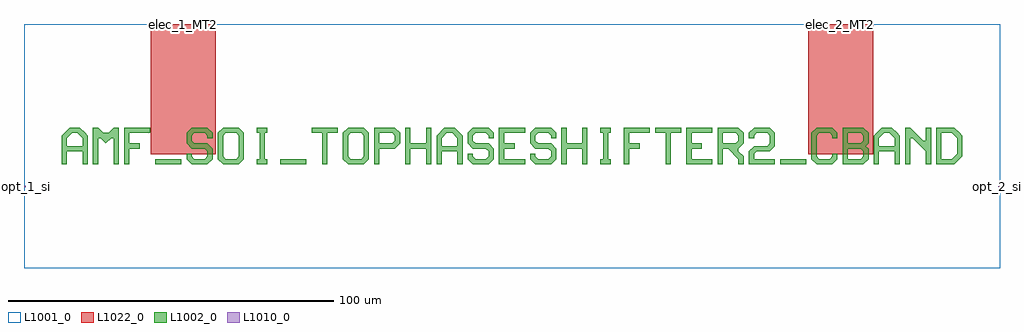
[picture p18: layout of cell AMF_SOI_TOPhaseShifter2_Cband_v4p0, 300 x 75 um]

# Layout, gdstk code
import gdstk
lib = gdstk.Library(unit=1e-6, precision=1e-09)
def R(c, l, rs):  # rectangles x0, y0, x1, y1
    for r in rs: c.add(gdstk.rectangle(r[:2], r[2:], *l))
def P(c, l, *ps):  # polygons
    for p in ps: c.add(gdstk.Polygon(p, *l))
L1001_0 = (1001, 0)
L1002_0 = (1002, 0)
L1010_0 = (1010, 0)
L1022_0 = (1022, 0)

amf_soi_tophaseshifter2_ = lib.new_cell('AMF_SOI_TOPhaseShifter2_Cband_v4p0')
R(amf_soi_tophaseshifter2_, L1001_0, [(0,-25,300,50)])
R(amf_soi_tophaseshifter2_, L1002_0, [(40.4,6.9,48.4,8.5), (78.8,6.9,86.8,8.5), (232.4,6.9,240.4,8.5)])
P(amf_soi_tophaseshifter2_, L1002_0, [(11.6,6.9),(11.6,15.7),(14,18.1),(17.2,18.1),(18.8,16.5),(14.8,16.5),(13.2,14.9),(13.2,12.5),(18,12.5),(18,14.9),(16.4,16.5),(18.8,16.5),(19.6,15.7),(19.6,6.9),(18,6.9),(18,10.9),(13.2,10.9),(13.2,6.9)],
  [(21.2,6.9),(21.2,18.1),(22.8,18.1),(24.4,16.5),(26,16.5),(27.6,18.1),(29.2,18.1),(29.2,6.9),(27.6,6.9),(27.6,14.9),(26.8,14.9),(25.2,13.3),(23.6,14.9),(22.8,14.9),(22.8,6.9)],
  [(30.8,6.9),(30.8,18.1),(38.8,18.1),(38.8,16.5),(32.4,16.5),(32.4,13.3),(35.6,13.3),(35.6,11.7),(32.4,11.7),(32.4,6.9)],
  [(51.6,6.9),(50,8.5),(50,10.1),(51.6,10.1),(51.6,9.3),(52.4,8.5),(55.6,8.5),(56.4,9.3),(56.4,10.9),(55.6,11.7),(51.6,11.7),(50,13.3),(50,16.5),(51.6,18.1),(56.4,18.1),(58,16.5),(58,14.9),(56.4,14.9),(56.4,15.7),(55.6,16.5),(52.4,16.5),(51.6,15.7),(51.6,14.1),(52.4,13.3),(56.4,13.3),(58,11.7),(58,8.5),(56.4,6.9)],
  [(61.2,6.9),(59.6,8.5),(59.6,16.5),(61.2,18.1),(66,18.1),(67.6,16.5),(67.6,12.5),(66,12.5),(66,15.7),(65.2,16.5),(62,16.5),(61.2,15.7),(61.2,9.3),(62,8.5),(65.2,8.5),(66,9.3),(66,12.5),(67.6,12.5),(67.6,8.5),(66,6.9)],
  [(71.6,6.9),(71.6,8.5),(72.4,8.5),(72.4,16.5),(71.6,16.5),(71.6,18.1),(74.8,18.1),(74.8,16.5),(74,16.5),(74,8.5),(74.8,8.5),(74.8,6.9)],
  [(91.6,6.9),(91.6,16.5),(88.4,16.5),(88.4,18.1),(96.4,18.1),(96.4,16.5),(93.2,16.5),(93.2,6.9)],
  [(99.6,6.9),(98,8.5),(98,16.5),(99.6,18.1),(104.4,18.1),(106,16.5),(106,12.5),(104.4,12.5),(104.4,15.7),(103.6,16.5),(100.4,16.5),(99.6,15.7),(99.6,9.3),(100.4,8.5),(103.6,8.5),(104.4,9.3),(104.4,12.5),(106,12.5),(106,8.5),(104.4,6.9)],
  [(107.6,6.9),(107.6,18.1),(114,18.1),(115.6,16.5),(115.6,13.3),(114,11.7),(109.2,11.7),(109.2,13.3),(113.2,13.3),(114,14.1),(114,15.7),(113.2,16.5),(109.2,16.5),(109.2,6.9)],
  [(117.2,6.9),(117.2,18.1),(118.8,18.1),(118.8,13.3),(123.6,13.3),(123.6,18.1),(125.2,18.1),(125.2,6.9),(123.6,6.9),(123.6,11.7),(118.8,11.7),(118.8,6.9)],
  [(126.8,6.9),(126.8,15.7),(129.2,18.1),(132.4,18.1),(134,16.5),(130,16.5),(128.4,14.9),(128.4,12.5),(133.2,12.5),(133.2,14.9),(131.6,16.5),(134,16.5),(134.8,15.7),(134.8,6.9),(133.2,6.9),(133.2,10.9),(128.4,10.9),(128.4,6.9)],
  [(138,6.9),(136.4,8.5),(136.4,10.1),(138,10.1),(138,9.3),(138.8,8.5),(142,8.5),(142.8,9.3),(142.8,10.9),(142,11.7),(138,11.7),(136.4,13.3),(136.4,16.5),(138,18.1),(142.8,18.1),(144.4,16.5),(144.4,14.9),(142.8,14.9),(142.8,15.7),(142,16.5),(138.8,16.5),(138,15.7),(138,14.1),(138.8,13.3),(142.8,13.3),(144.4,11.7),(144.4,8.5),(142.8,6.9)],
  [(146,6.9),(146,18.1),(154,18.1),(154,16.5),(147.6,16.5),(147.6,13.3),(150.8,13.3),(150.8,11.7),(147.6,11.7),(147.6,8.5),(154,8.5),(154,6.9)],
  [(157.2,6.9),(155.6,8.5),(155.6,10.1),(157.2,10.1),(157.2,9.3),(158,8.5),(161.2,8.5),(162,9.3),(162,10.9),(161.2,11.7),(157.2,11.7),(155.6,13.3),(155.6,16.5),(157.2,18.1),(162,18.1),(163.6,16.5),(163.6,14.9),(162,14.9),(162,15.7),(161.2,16.5),(158,16.5),(157.2,15.7),(157.2,14.1),(158,13.3),(162,13.3),(163.6,11.7),(163.6,8.5),(162,6.9)],
  [(165.2,6.9),(165.2,18.1),(166.8,18.1),(166.8,13.3),(171.6,13.3),(171.6,18.1),(173.2,18.1),(173.2,6.9),(171.6,6.9),(171.6,11.7),(166.8,11.7),(166.8,6.9)],
  [(177.2,6.9),(177.2,8.5),(178,8.5),(178,16.5),(177.2,16.5),(177.2,18.1),(180.4,18.1),(180.4,16.5),(179.6,16.5),(179.6,8.5),(180.4,8.5),(180.4,6.9)],
  [(184.4,6.9),(184.4,18.1),(192.4,18.1),(192.4,16.5),(186,16.5),(186,13.3),(189.2,13.3),(189.2,11.7),(186,11.7),(186,6.9)],
  [(197.2,6.9),(197.2,16.5),(194,16.5),(194,18.1),(202,18.1),(202,16.5),(198.8,16.5),(198.8,6.9)],
  [(203.6,6.9),(203.6,18.1),(211.6,18.1),(211.6,16.5),(205.2,16.5),(205.2,13.3),(208.4,13.3),(208.4,11.7),(205.2,11.7),(205.2,8.5),(211.6,8.5),(211.6,6.9)],
  [(213.2,6.9),(213.2,18.1),(219.6,18.1),(221.2,16.5),(214.8,16.5),(214.8,13.3),(218.8,13.3),(219.6,14.1),(219.6,15.7),(218.8,16.5),(221.2,16.5),(221.2,13.3),(219.6,11.7),(219.6,10.9),(221.2,9.3),(221.2,6.9),(219.6,6.9),(219.6,8.5),(216.4,11.7),(214.8,11.7),(214.8,6.9)],
  [(222.8,6.9),(222.8,10.9),(224.4,12.5),(228.4,12.5),(229.2,13.3),(229.2,15.7),(228.4,16.5),(225.2,16.5),(224.4,15.7),(224.4,14.9),(222.8,14.9),(222.8,16.5),(224.4,18.1),(229.2,18.1),(230.8,16.5),(230.8,12.5),(229.2,10.9),(225.2,10.9),(224.4,10.1),(224.4,8.5),(230.8,8.5),(230.8,6.9)],
  [(243.6,6.9),(242,8.5),(242,16.5),(243.6,18.1),(248.4,18.1),(250,16.5),(250,14.9),(248.4,14.9),(248.4,15.7),(247.6,16.5),(244.4,16.5),(243.6,15.7),(243.6,9.3),(244.4,8.5),(247.6,8.5),(248.4,9.3),(248.4,10.1),(250,10.1),(250,8.5),(248.4,6.9)],
  [(251.6,6.9),(251.6,18.1),(258,18.1),(259.6,16.5),(253.2,16.5),(253.2,13.3),(257.2,13.3),(258,14.1),(258,15.7),(257.2,16.5),(259.6,16.5),(259.6,13.3),(258.8,12.5),(259.6,11.7),(253.2,11.7),(253.2,8.5),(257.2,8.5),(258,9.3),(258,10.9),(257.2,11.7),(259.6,11.7),(259.6,8.5),(258,6.9)],
  [(261.2,6.9),(261.2,15.7),(263.6,18.1),(266.8,18.1),(268.4,16.5),(264.4,16.5),(262.8,14.9),(262.8,12.5),(267.6,12.5),(267.6,14.9),(266,16.5),(268.4,16.5),(269.2,15.7),(269.2,6.9),(267.6,6.9),(267.6,10.9),(262.8,10.9),(262.8,6.9)],
  [(270.8,6.9),(270.8,18.1),(272.4,18.1),(276.4,14.1),(277.2,14.1),(277.2,18.1),(278.8,18.1),(278.8,6.9),(277.2,6.9),(277.2,10.9),(273.2,14.9),(272.4,14.9),(272.4,6.9)],
  [(280.4,6.9),(280.4,18.1),(286,18.1),(287.6,16.5),(282,16.5),(282,8.5),(285.2,8.5),(286.8,10.1),(286.8,14.9),(285.2,16.5),(287.6,16.5),(288.4,15.7),(288.4,9.3),(286,6.9)])
R(amf_soi_tophaseshifter2_, L1010_0, [(0,-0.25,0.5,0.25), (299.5,-0.25,300,0.25)])
R(amf_soi_tophaseshifter2_, L1022_0, [(39,10,59,50), (241,10,261,50)])
amf_soi_tophaseshifter2_.add(gdstk.Label('opt_2_si', (300,0), layer=1010, texttype=0))
amf_soi_tophaseshifter2_.add(gdstk.Label('opt_1_si', (0,0), layer=1010, texttype=0))
amf_soi_tophaseshifter2_.add(gdstk.Label('elec_1_MT2', (49,50), layer=1022, texttype=0))
amf_soi_tophaseshifter2_.add(gdstk.Label('elec_2_MT2', (251,50), layer=1022, texttype=0))

lib.write_gds('AMF_SOI_TOPhaseShifter2_Cband_v4p0.gds')
